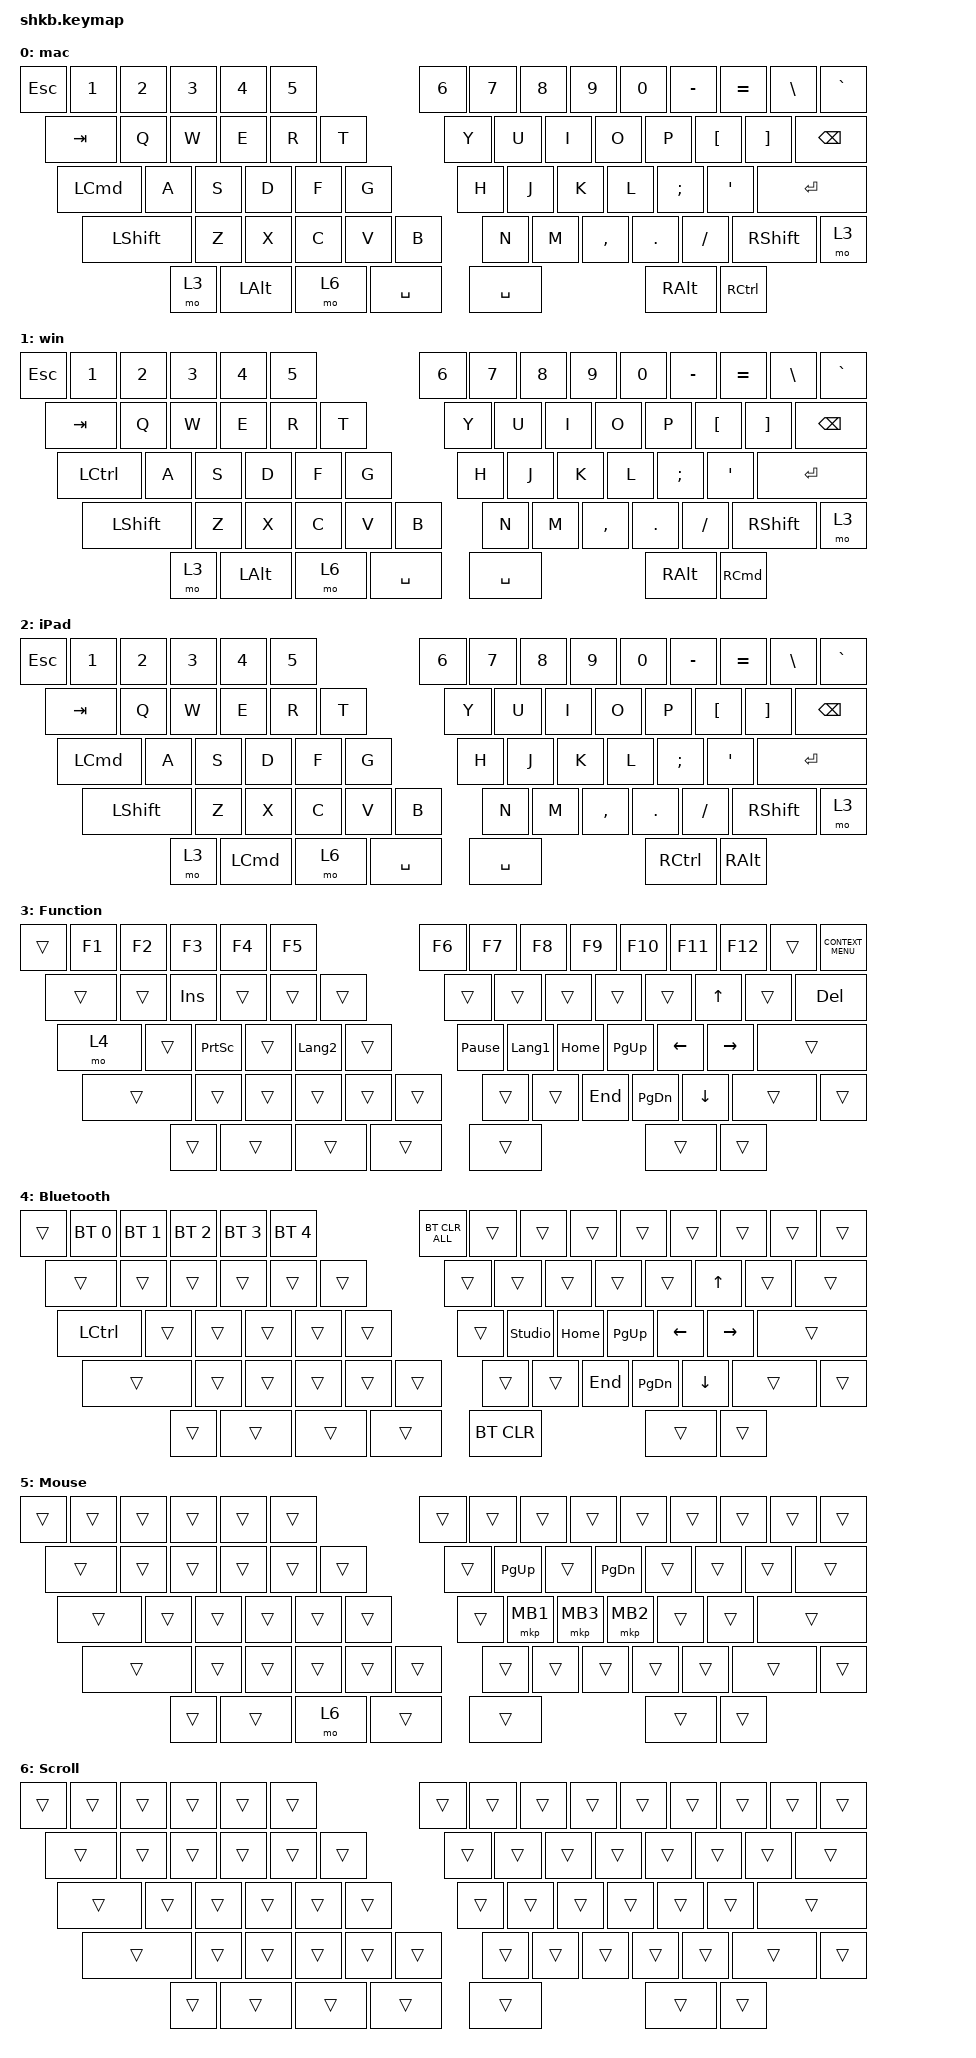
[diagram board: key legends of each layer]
#include <behaviors.dtsi>
#include <dt-bindings/zmk/bt.h>
#include <dt-bindings/zmk/keys.h>
#include <dt-bindings/zmk/pointing.h>
/* DYA Studio の「マクロ&コンボ」で作るランタイムマクロをキーに割り当てるための behavior */
#include <behaviors/runtime_macro.dtsi>

/*
 * 62-key Split HHKB layout
 *
 * Row 0 (15): ESC 1  2  3  4  5  | 6  7  8  9  0  -  =  \  `
 * Row 1 (14): TAB Q  W  E  R  T  | Y  U  I  O  P  [  ]  BSPC
 * Row 2 (13): CTL A  S  D  F  G  | H  J  K  L  ;  '  ENT
 * Row 3 (13): SFT Z  X  C  V  B  | N  M  ,  .  /  SFT UP
 * Row 4 ( 7): FN  CTL ALT SPC    | RALT GUI CTL
 */

&mt {
    flavor = "balanced";
    quick-tap-ms = <0>;
};

/ {
    chosen {
        zmk,keymap = &keymap;

        /* zmk,matrix-transform is intentionally absent: the transform is resolved
         * through zmk,physical-layout (set in each shield overlay) so that
         * USE_PHY_LAYOUTS=true, which ZMK Studio requires. */
    };

    /* BT0Mac..BT4iPad マクロ（&bt BT_SEL n + &to layer）は廃止。
     * 接続先ごとのベースレイヤーは DYA Studio の「接続」タブ
     * （zmk-feature-default-layer）で設定する。 */
    macros {
        to_layer_0: to_layer_0 {
            compatible = "zmk,behavior-macro-one-param";
            #binding-cells = <1>;
            bindings = <&to 0 &macro_param_1to1 &kp MACRO_PLACEHOLDER>;
            label = "TO_LAYER_0";
        };
    };

    behaviors {
        lt_to_layer_0: lt_to_layer_0 {
            compatible = "zmk,behavior-hold-tap";
            label = "LT_TO_LAYER_0";
            bindings = <&mo>, <&to_layer_0>;

            #binding-cells = <2>;
            tapping-term-ms = <200>;
        };
    };

    /* DYA Studio の「マクロ&コンボ」で表示・編集できるランタイムコンボの初期値。
     * Studio で変更・削除するとそちらが優先され、「Reset to Default」か
     * settings_reset でここの値に戻る。（旧: zmk,combos の ScrollLayer） */
    runtime_combo_defaults {
        compatible = "cormoran,runtime-combo-defaults";

        ScrollLayer {
            slot = <0>;
            key-positions = <36 37>;   /* J + K */
            bindings = <&mo 6>;
            display-name = "Scroll";
        };
    };

    keymap: keymap {
        compatible = "zmk,keymap";

        /* ---------------------------------------------------------------
         * Layer 0 – Default (HHKB base)
         * --------------------------------------------------------------- */

        mac {
            display-name = "mac";
            bindings = <
&kp ESC           &kp N1  &kp N2  &kp N3  &kp N4        &kp N5               &kp N6  &kp N7     &kp N8     &kp N9             &kp N0    &kp MINUS  &kp EQUAL  &kp BSLH  &kp GRAVE
&kp TAB           &kp Q   &kp W   &kp E   &kp R         &kp T                &kp Y   &kp U      &kp I      &kp O              &kp P     &kp LBKT   &kp RBKT   &kp BSPC
&kp LEFT_COMMAND  &kp A   &kp S   &kp D   &kp F         &kp G                &kp H   &kp J      &kp K      &kp L              &kp SEMI  &kp SQT    &kp RET
&kp LSHFT         &kp Z   &kp X   &kp C   &kp V         &kp B                &kp N   &kp M      &kp COMMA  &kp DOT            &kp FSLH  &kp RSHFT  &mo 3
                                  &mo 3   &kp LEFT_ALT  &mo 6   &kp SPACE            &kp SPACE  &kp RALT   &kp RIGHT_CONTROL
            >;
        };

        win {
            display-name = "win";
            bindings = <
&kp ESC           &kp N1  &kp N2  &kp N3  &kp N4        &kp N5               &kp N6  &kp N7     &kp N8         &kp N9             &kp N0    &kp MINUS  &kp EQUAL  &kp BSLH  &kp GRAVE
&kp TAB           &kp Q   &kp W   &kp E   &kp R         &kp T                &kp Y   &kp U      &kp I          &kp O              &kp P     &kp LBKT   &kp RBKT   &kp BSPC
&kp LEFT_CONTROL  &kp A   &kp S   &kp D   &kp F         &kp G                &kp H   &kp J      &kp K          &kp L              &kp SEMI  &kp SQT    &kp RET
&kp LSHFT         &kp Z   &kp X   &kp C   &kp V         &kp B                &kp N   &kp M      &kp COMMA      &kp DOT            &kp FSLH  &kp RSHFT  &mo 3
                                  &mo 3   &kp LEFT_ALT  &mo 6   &kp SPACE            &kp SPACE  &kp RIGHT_ALT  &kp RIGHT_COMMAND
            >;
        };

        /* Layer 2 – iPad (temporary: reuses the mac layout as-is) */

        iPad {
            display-name = "iPad";
            bindings = <
&kp ESC           &kp N1  &kp N2  &kp N3  &kp N4            &kp N5               &kp N6  &kp N7     &kp N8             &kp N9         &kp N0    &kp MINUS  &kp EQUAL  &kp BSLH  &kp GRAVE
&kp TAB           &kp Q   &kp W   &kp E   &kp R             &kp T                &kp Y   &kp U      &kp I              &kp O          &kp P     &kp LBKT   &kp RBKT   &kp BSPC
&kp LEFT_COMMAND  &kp A   &kp S   &kp D   &kp F             &kp G                &kp H   &kp J      &kp K              &kp L          &kp SEMI  &kp SQT    &kp RET
&kp LSHFT         &kp Z   &kp X   &kp C   &kp V             &kp B                &kp N   &kp M      &kp COMMA          &kp DOT        &kp FSLH  &kp RSHFT  &mo 3
                                  &mo 3   &kp LEFT_COMMAND  &mo 6   &kp SPACE            &kp SPACE  &kp RIGHT_CONTROL  &kp RIGHT_ALT
            >;
        };

        Number {
            display-name = "Function";
            bindings = <
&trans  &kp F1  &kp F2           &kp F3  &kp F4          &kp F5            &kp F6           &kp F7          &kp F8    &kp F9         &kp F10   &kp F11    &kp F12  &trans   &kp K_CONTEXT_MENU
&trans  &trans  &kp INS          &trans  &trans          &trans            &trans           &trans          &trans    &trans         &trans    &kp UP     &trans   &kp DEL
&mo 4   &trans  &kp PRINTSCREEN  &trans  &kp LANGUAGE_2  &trans            &kp PAUSE_BREAK  &kp LANGUAGE_1  &kp HOME  &kp PAGE_UP    &kp LEFT  &kp RIGHT  &trans
&trans  &trans  &trans           &trans  &trans          &trans            &trans           &trans          &kp END   &kp PAGE_DOWN  &kp DOWN  &trans     &trans
                                 &trans  &trans          &trans  &trans                     &trans          &trans    &trans
            >;
        };

        Bluetooth {
            display-name = "Bluetooth";
            bindings = <
&trans            &bt BT_SEL 0  &bt BT_SEL 1  &bt BT_SEL 2  &bt BT_SEL 3  &bt BT_SEL 4            &bt BT_CLR_ALL  &trans          &trans    &trans         &trans    &trans     &trans  &trans  &trans
&trans            &trans   &trans   &trans   &trans   &trans              &trans          &trans          &trans    &trans         &trans    &kp UP     &trans  &trans
&kp LEFT_CONTROL  &trans   &trans   &trans   &trans   &trans              &trans          &studio_unlock  &kp HOME  &kp PAGE_UP    &kp LEFT  &kp RIGHT  &trans
&trans            &trans   &trans   &trans   &trans   &trans              &trans          &trans          &kp END   &kp PAGE_DOWN  &kp DOWN  &trans     &trans
                                    &trans   &trans   &trans    &trans                    &bt BT_CLR      &trans    &trans
            >;
        };

        Mouse {
            display-name = "Mouse";
            bindings = <
&trans            &trans  &trans  &trans  &trans    &trans            &trans  &trans              &trans    &trans               &trans  &trans  &trans  &trans  &trans
&trans            &trans  &trans  &trans  &trans    &trans            &trans  &kp PAGE_UP         &trans    &kp PAGE_DOWN        &trans  &trans  &trans  &trans
&trans            &trans  &trans  &trans  &trans    &trans            &trans  &mkp MB1            &mkp MB3  &mkp MB2             &trans  &trans  &trans
&trans            &trans  &trans  &trans  &trans    &trans            &trans  &trans              &trans    &trans               &trans  &trans  &trans
                                  &trans  &trans    &mo 6   &trans            &trans              &trans    &trans
            >;
        };

        scroll {
            display-name = "Scroll";
            bindings = <
&trans  &trans  &trans  &trans  &trans  &trans            &trans  &trans  &trans  &trans  &trans  &trans  &trans  &trans  &trans
&trans  &trans  &trans  &trans  &trans  &trans            &trans  &trans  &trans  &trans  &trans  &trans  &trans  &trans
&trans  &trans  &trans  &trans  &trans  &trans            &trans  &trans  &trans  &trans  &trans  &trans  &trans
&trans  &trans  &trans  &trans  &trans  &trans            &trans  &trans  &trans  &trans  &trans  &trans  &trans
                        &trans  &trans  &trans  &trans            &trans  &trans  &trans
            >;
        };

        /* DYA Studio / ZMK Studio から使える予備レイヤー（通常ビルドでは無視される） */
        extra1 {
            status = "reserved";
        };

        extra2 {
            status = "reserved";
        };
    };
};
